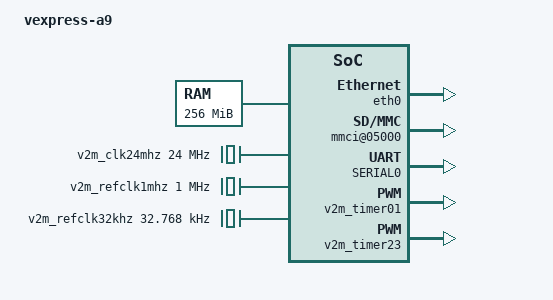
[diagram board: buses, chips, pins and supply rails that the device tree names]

/ {
	#address-cells = <1>;
	#size-cells = <1>;
	compatible = "arm,vexpress";
	model = "vexpress-a9";

	chosen { };
	aliases { };

	cpus {
		#address-cells = <1>;
		#size-cells = <0>;

		cpu@0 {
			device_type = "cpu";
			compatible = "arm,cortex-a9";
			reg = <0>;
			enable-method = "smp-scu";
			cpu-clear-addr = <0x10000034>;
			cpu-release-addr = <0x10000030>;
		};

		cpu@1 {
			device_type = "cpu";
			compatible = "arm,cortex-a9";
			reg = <1>;
			enable-method = "smp-scu";
			cpu-clear-addr = <0x10000034>;
			cpu-release-addr = <0x10000030>;
		};

		cpu@2 {
			device_type = "cpu";
			compatible = "arm,cortex-a9";
			reg = <2>;
			enable-method = "smp-scu";
			cpu-clear-addr = <0x10000034>;
			cpu-release-addr = <0x10000030>;
		};

		cpu@3 {
			device_type = "cpu";
			compatible = "arm,cortex-a9";
			reg = <3>;
			enable-method = "smp-scu";
			cpu-clear-addr = <0x10000034>;
			cpu-release-addr = <0x10000030>;
		};
	};

	memory {
		device_type = "memory"; 
		reg = <0x60000000 0x10000000>; /* 256 MB */
	};

	scu { /* Snoop Control Unit */
      		device_type = "scu";
      		compatible = "arm,cortex-a9-scu";
      		reg = <0x1E000000 0x1000>;
	};

	gic { /* Generic Interrupt Controller */
      		device_type = "pic";
      		compatible = "arm,cortex-a9-gic";
      		reg = <0x1E001000 0x1000
		       0x1E000100 0x1000>;
	};

	twd-timer { /* Local Timer */
      		device_type = "timer";
      		compatible = "arm,cortex-a9-twd-timer";
      		reg = <0x1E000600 0x1000	/* Local timer registers */
		       0x1000005C 0x1000>;	/* Reference counter address */
		ref-counter-freq = <24000000>;	/* Reference counter frequency */
		interrupts = <29>;
	};

	dcc {
		compatible = "arm,vexpress,config-bus";
		arm,vexpress,config-bridge = <&v2m_sysreg>;

		osc@0 {
			/* ACLK clock to the AXI master port on the test chip */
			compatible = "arm,vexpress-osc";
			arm,vexpress-sysreg,func = <1 0>;
			freq-range = <30000000 50000000>;
			#clock-cells = <0>;
			clock-output-names = "extsaxiclk";
		};

		oscclk1: osc@1 {
			/* Reference clock for the CLCD */
			compatible = "arm,vexpress-osc";
			arm,vexpress-sysreg,func = <1 1>;
			freq-range = <10000000 80000000>;
			#clock-cells = <0>;
			clock-output-names = "clcdclk";
		};

		smbclk: oscclk2: osc@2 {
			/* Reference clock for the test chip internal PLLs */
			compatible = "arm,vexpress-osc";
			arm,vexpress-sysreg,func = <1 2>;
			freq-range = <33000000 100000000>;
			#clock-cells = <0>;
			clock-output-names = "tcrefclk";
		};
	};

	smb {
		#address-cells = <1>;
		#size-cells = <1>;
		compatible = "simple-bus";

		motherboard {
			#address-cells = <1>;
			#size-cells = <1>;
			compatible = "simple-bus";

			eth0 {
				device_type = "nic";
				compatible = "smc911x";
				reg = <0x4E000000 0x1000>;
				smsc,irq-active-high;
				interrupts = <47>;
				switch = "br0";
			};

			iofpga {
				#address-cells = <1>;
				#size-cells = <1>;

				v2m_sysreg: sysreg@00000 { /* System Registers */
			      		device_type = "sys";
			      		compatible = "arm,vexpress-sysreg";
			      		reg = <0x10000000 0x1000>;
				};

				v2m_sysctl: sysctl@01000 { /* System Controller */
			      		device_type = "sys";
			      		compatible = "arm,sp810";
			      		reg = <0x10001000 0x1000>;
					clocks = <&v2m_refclk32khz>, <&v2m_refclk1mhz>, <&smbclk>;
					clock-names = "refclk", "timclk", "apb_pclk";
					#clock-cells = <1>;
					clock-output-names = "timerclken0", "timerclken1", "timerclken2", "timerclken3";
				};

				mmci@05000 { /* Multimedia Card Interface */
			      		device_type = "mmc";
			      		compatible = "arm,pl180";
			      		reg = <0x10005000 0x1000>;
					interrupts = <41 42>;
					clocks = <&v2m_clk24mhz>, <&smbclk>;
					clock-names = "mclk", "apb_pclk";
				};

				kmi@06000 { /* Keyboard */
			      		device_type = "serio";
			      		compatible = "arm,pl050";
			      		reg = <0x10006000 0x1000>;
					interrupts = <44>;
					clocks = <&v2m_clk24mhz>, <&smbclk>;
					clock-names = "KMIREFCLK", "apb_pclk";
				};

				kmi@07000 { /* Mouse */
			      		device_type = "serio";
			      		compatible = "arm,pl050";
			      		reg = <0x10007000 0x1000>;
					interrupts = <45>;
					clocks = <&v2m_clk24mhz>, <&smbclk>;
					clock-names = "KMIREFCLK", "apb_pclk";
				};

				SERIAL0: v2m_serial0: uart@09000 {
			      		compatible = "arm,pl011";
			      		reg = <0x10009000 0x1000>;
					clock-frequency = <24000000>;
					interrupts = <37>;
					clocks = <&v2m_oscclk2>, <&smbclk>;
					clock-names = "uartclk", "apb_pclk";
				};

				v2m_timer01: timer@11000 {
			      		device_type = "timer";
			      		compatible = "arm,sp804";
			      		reg = <0x10011000 0x1000>;
					interrupts = <34>;
					clocks = <&v2m_sysctl 0>, <&v2m_sysctl 1>, <&smbclk>;
					clock-names = "timclken1", "timclken2", "apb_pclk";
				};

				v2m_timer23: timer@12000 {
			      		device_type = "timer";
			      		compatible = "arm,sp804";
			      		reg = <0x10012000 0x1000>;
					interrupts = <35>;
					clocks = <&v2m_sysctl 2>, <&v2m_sysctl 3>, <&smbclk>;
					clock-names = "timclken1", "timclken2", "apb_pclk";
				};

				RTC0: v2m_rtc0: rtc@17000 {
			      		device_type = "rtc";
			      		compatible = "arm,pl031";
			      		reg = <0x10017000 0x1000>;
					interrupts = <36>;
				};

				clcd@1f000 {
			      		device_type = "fb";
			      		compatible = "arm,pl111";
			      		reg = <0x10020000 0x1000>;
					clocks = <&v2m_oscclk1>, <&smbclk>;
					clock-names = "clcdclk", "apb_pclk";
					use_dma = <0>;
					framebuffer = <0x4C000000 0x00180000>;
				};
			};

			v2m_clk24mhz: clk24mhz {
				compatible = "fixed-clock";
				#clock-cells = <0>;
				clock-frequency = <24000000>;
				clock-output-names = "v2m:clk24mhz";
			};

			v2m_refclk1mhz: refclk1mhz {
				compatible = "fixed-clock";
				#clock-cells = <0>;
				clock-frequency = <1000000>;
				clock-output-names = "v2m:refclk1mhz";
			};

			v2m_refclk32khz: refclk32khz {
				compatible = "fixed-clock";
				#clock-cells = <0>;
				clock-frequency = <32768>;
				clock-output-names = "v2m:refclk32khz";
			};

			mcc {
				compatible = "arm,vexpress,config-bus";
				arm,vexpress,config-bridge = <&v2m_sysreg>;

				osc@0 {
					/* MCC static memory clock */
					compatible = "arm,vexpress-osc";
					arm,vexpress-sysreg,func = <1 0>;
					freq-range = <25000000 60000000>;
					#clock-cells = <0>;
					clock-output-names = "v2m:oscclk0";
				};

				v2m_oscclk1: osc@1 {
					/* CLCD clock */
					compatible = "arm,vexpress-osc";
					arm,vexpress-sysreg,func = <1 1>;
					freq-range = <23750000 63500000>;
					#clock-cells = <0>;
					clock-output-names = "v2m:oscclk1";
				};

				v2m_oscclk2: osc@2 {
					/* IO FPGA peripheral clock */
					compatible = "arm,vexpress-osc";
					arm,vexpress-sysreg,func = <1 2>;
					freq-range = <24000000 24000000>;
					#clock-cells = <0>;
					clock-output-names = "v2m:oscclk2";
				};

				volt@0 {
					/* Logic level voltage */
					compatible = "arm,vexpress-volt";
					arm,vexpress-sysreg,func = <2 0>;
					regulator-name = "VIO";
					regulator-always-on;
					label = "VIO";
				};

				temp@0 {
					/* MCC internal operating temperature */
					compatible = "arm,vexpress-temp";
					arm,vexpress-sysreg,func = <4 0>;
					label = "MCC";
				};

				reset@0 {
					compatible = "arm,vexpress-reset";
					arm,vexpress-sysreg,func = <5 0>;
				};

				muxfpga@0 {
					compatible = "arm,vexpress-muxfpga";
					arm,vexpress-sysreg,func = <7 0>;
				};

				shutdown@0 {
					compatible = "arm,vexpress-shutdown";
					arm,vexpress-sysreg,func = <8 0>;
				};

				reboot@0 {
					compatible = "arm,vexpress-reboot";
					arm,vexpress-sysreg,func = <9 0>;
				};

				dvimode@0 {
					compatible = "arm,vexpress-dvimode";
					arm,vexpress-sysreg,func = <11 0>;
				};
			};
		};
	};
};

